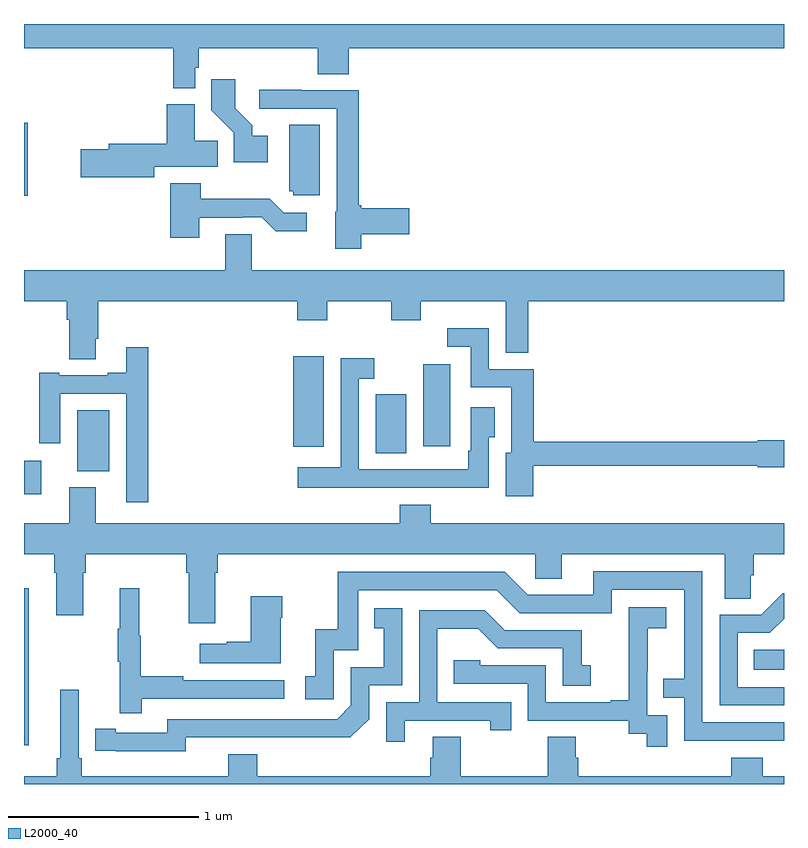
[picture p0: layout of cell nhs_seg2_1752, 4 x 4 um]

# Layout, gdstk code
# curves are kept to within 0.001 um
import gdstk
lib = gdstk.Library(unit=1e-6, precision=1e-09)
def R(c, l, rs):  # rectangles x0, y0, x1, y1
    for r in rs: c.add(gdstk.rectangle(r[:2], r[2:], *l))
def P(c, l, *ps):  # polygons
    for p in ps: c.add(gdstk.Polygon(p, *l))
L2000_40 = (2000, 40)

nhs_seg2_1752 = lib.new_cell('nhs_seg2_1752')
R(nhs_seg2_1752, L2000_40, [(203,608.004,203.026,608.83), (206.842,608.402,207,608.506), (203,609.326,203.092,609.502), (203.279,609.446,203.449,609.766), (204.851,609.541,205.012,609.852), (204.416,609.576,204.577,610.051), (205.1,609.578,205.243,610.009), (203,610.895,203.02,611.281)])
P(nhs_seg2_1752, L2000_40, [(203.901,611.571),(203.921,611.571),(203.921,611.672),(204.545,611.672),(204.545,611.536),(204.71,611.536),(204.71,611.672),(207,611.672),(207,611.8),(203,611.8),(203,611.672),(203.785,611.672),(203.785,611.462),(203.901,611.462)],
  [(204.283,611.212),(204.202,611.212),(204.202,611.267),(204.112,611.357),(204.112,611.509),(203.986,611.509),(203.986,611.346),(204.105,611.227),(204.105,611.072),(204.283,611.072)],
  [(204.774,610.694),(205.027,610.694),(205.027,610.829),(204.774,610.829),(204.774,610.847),(204.761,610.847),(204.761,611.451),(204.461,611.451),(204.461,611.454),(204.237,611.454),(204.237,611.355),(204.645,611.355),(204.645,610.812),(204.638,610.812),(204.638,610.616),(204.774,610.616)],
  [(203.686,611.048),(204.02,611.048),(204.02,611.186),(203.899,611.186),(203.899,611.377),(203.75,611.377),(203.75,611.171),(203.447,611.171),(203.447,611.141),(203.298,611.141),(203.298,610.994),(203.686,610.994)],
  [(204.556,611.269),(204.395,611.269),(204.395,610.92),(204.417,610.92),(204.417,610.899),(204.556,610.899)],
  [(203.923,610.779),(204.152,610.779),(204.152,610.782),(204.252,610.782),(204.325,610.709),(204.487,610.709),(204.487,610.806),(204.366,610.806),(204.293,610.879),(203.931,610.879),(203.931,610.963),(203.771,610.963),(203.771,610.674),(203.923,610.674)],
  [(203.377,610.144),(203.39,610.144),(203.39,610.34),(204.437,610.34),(204.437,610.241),(204.597,610.241),(204.597,610.34),(204.934,610.34),(204.934,610.241),(205.089,610.241),(205.089,610.34),(205.535,610.34),(205.535,610.069),(205.654,610.069),(205.654,610.34),(207,610.34),(207,610.504),(204.198,610.504),(204.198,610.694),(204.059,610.694),(204.059,610.504),(203,610.504),(203,610.34),(203.225,610.34),(203.225,610.244),(203.237,610.244),(203.237,610.036),(203.377,610.036)],
  [(205.679,609.474),(206.862,609.474),(206.862,609.466),(207,609.466),(207,609.608),(206.862,609.608),(206.862,609.602),(205.684,609.602),(205.684,609.984),(205.446,609.984),(205.446,610.198),(205.227,610.198),(205.227,610.101),(205.35,610.101),(205.35,609.888),(205.565,609.888),(205.565,609.543),(205.535,609.543),(205.535,609.315),(205.679,609.315)],
  [(203.654,610.099),(203.537,610.099),(203.537,609.964),(203.441,609.964),(203.441,609.951),(203.185,609.951),(203.185,609.964),(203.081,609.964),(203.081,609.594),(203.191,609.594),(203.191,609.855),(203.538,609.855),(203.538,609.282),(203.654,609.282)],
  [(204.859,609.36),(205.225,609.36),(205.225,609.359),(205.446,609.359),(205.446,609.625),(205.477,609.625),(205.477,609.784),(205.35,609.784),(205.35,609.553),(205.338,609.553),(205.338,609.456),(204.762,609.456),(204.762,609.933),(204.844,609.933),(204.844,610.042),(204.666,610.042),(204.666,609.466),(204.441,609.466),(204.441,609.359),(204.859,609.359)],
  [(204.007,608.912),(204.02,608.912),(204.02,609.008),(205.692,609.008),(205.692,608.881),(205.831,608.881),(205.831,609.008),(206.687,609.008),(206.687,608.776),(206.826,608.776),(206.826,608.899),(206.84,608.899),(206.84,609.008),(207,609.008),(207,609.172),(205.142,609.172),(205.142,609.271),(204.977,609.271),(204.977,609.172),(203.377,609.172),(203.377,609.361),(203.237,609.361),(203.237,609.172),(203,609.172),(203,609.008),(203.159,609.008),(203.159,608.912),(203.171,608.912),(203.171,608.688),(203.311,608.688),(203.311,608.912),(203.324,608.912),(203.324,609.008),(203.855,609.008),(203.855,608.912),(203.867,608.912),(203.867,608.646),(204.007,608.646)],
  [(207,608.124),(206.571,608.124),(206.571,608.919),(205.997,608.919),(205.997,608.796),(205.65,608.796),(205.53,608.916),(204.651,608.916),(204.651,608.614),(204.533,608.614),(204.533,608.367),(204.48,608.367),(204.48,608.247),(204.63,608.247),(204.63,608.505),(204.759,608.505),(204.759,608.82),(205.488,608.82),(205.608,608.7),(206.094,608.7),(206.094,608.823),(206.475,608.823),(206.475,608.354),(206.365,608.354),(206.365,608.253),(206.475,608.253),(206.475,608.028),(207,608.027)],
  [(203.621,608.25),(204.37,608.25),(204.37,608.346),(203.837,608.346),(203.837,608.366),(203.614,608.366),(203.614,608.58),(203.606,608.58),(203.606,608.83),(203.504,608.83),(203.504,608.617),(203.493,608.617),(203.493,608.443),(203.504,608.443),(203.504,608.172),(203.621,608.172)],
  [(207,608.31),(206.757,608.31),(206.757,608.595),(206.926,608.595),(207,608.669),(207,608.804),(206.993,608.804),(206.88,608.691),(206.661,608.691),(206.661,608.214),(207,608.214)],
  [(204.352,608.675),(204.36,608.675),(204.36,608.788),(204.194,608.788),(204.194,608.549),(204.068,608.549),(204.068,608.539),(203.925,608.539),(203.925,608.435),(204.352,608.435)],
  [(206.385,608.163),(206.28,608.163),(206.28,608.393),(206.282,608.393),(206.282,608.621),(206.38,608.621),(206.38,608.731),(206.182,608.731),(206.182,608.525),(206.183,608.525),(206.183,608.242),(206.087,608.242),(206.087,608.229),(205.746,608.229),(205.746,608.424),(205.401,608.424),(205.401,608.451),(205.261,608.451),(205.261,608.328),(205.65,608.328),(205.65,608.133),(206.184,608.133),(206.184,608.065),(206.277,608.065),(206.277,607.995),(206.385,607.995)],
  [(203.85,608.046),(204.718,608.045),(204.816,608.142),(204.816,608.319),(204.99,608.319),(204.99,608.725),(204.844,608.725),(204.844,608.619),(204.893,608.619),(204.893,608.415),(204.72,608.415),(204.72,608.214),(204.648,608.142),(203.754,608.142),(203.754,608.07),(203.482,608.07),(203.482,608.09),(203.374,608.09),(203.374,607.974),(203.85,607.973)],
  [(205.003,608.133),(205.454,608.133),(205.454,608.082),(205.565,608.082),(205.565,608.229),(205.176,608.229),(205.176,608.618),(205.39,608.618),(205.494,608.514),(205.836,608.514),(205.836,608.316),(205.984,608.316),(205.984,608.425),(205.935,608.425),(205.935,608.61),(205.531,608.61),(205.426,608.715),(205.08,608.715),(205.08,608.229),(204.906,608.229),(204.906,608.022),(205.003,608.022)],
  [(207,607.84),(206.888,607.84),(206.888,607.939),(206.723,607.939),(206.723,607.84),(205.916,607.84),(205.916,607.938),(205.903,607.938),(205.903,608.048),(205.756,608.048),(205.756,607.84),(205.299,607.84),(205.299,608.048),(205.151,608.048),(205.151,607.938),(205.139,607.938),(205.139,607.84),(204.227,607.84),(204.227,607.957),(204.074,607.957),(204.074,607.84),(203.303,607.84),(203.303,607.936),(203.289,607.936),(203.289,608.296),(203.192,608.296),(203.192,607.936),(203.173,607.936),(203.173,607.84),(203,607.84),(203,607.8),(207,607.8)])

lib.write_gds('nhs_seg2_1752.gds')
